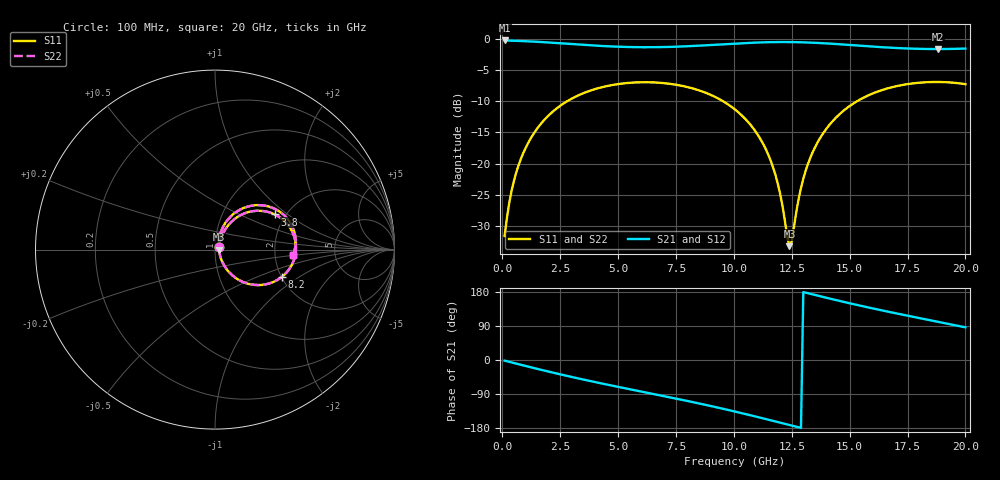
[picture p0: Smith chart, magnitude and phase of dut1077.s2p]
! Touchstone file exported from HFSS 2026.1.0
!  File:  C:/ffzhzh/LocalFiles/Ansys_Project_Files/temp_train_TSV_RDL_1077_1783300202_38704.aedt
!  Generated:  09:20:14 AM Jul  6, 2026
!  Design:  TSV_RDL
!  Project:  temp_train_TSV_RDL_1077_1783300202_38704
! Variables:
!  h_bsmrdl = 4.2um
!  h_ox = 20um
!  h_rdl = 5um
!  h_sub = 62.74um
!  h_tmrdl = 3.46um
!  h_tsv = 62.74um
!  h_via = 3um
!  l_bsmrdl = 349.71um
!  l_sub = 4742.67um
!  l_tmrdl = 792.02um
!  m_sub = 200um
!  pitch = 40.71um
!  r_tsv = 10.96um
!  s_tmrdl = 10um
!  w_bsmrdl = 22.7um
!  w_sub = 500um
!  w_tmrdl = 19.12um
!  x_tsv_center1 = 801.58um
!  x_tsv_center2 = 1173.99um
!  x_tsv_center3 = 1985.13um
!  x_tsv_center4 = 2357.54um
!  x_tsv_center5 = 3168.68um
!  x_tsv_center6 = 3541.09um
# GHz S MA R 50.000000
! Terminal data exported
! Port[1] = TM_RDL1_1_T1
! Port[2] = TM_RDL5_1_T1
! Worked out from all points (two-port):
!   200 points, 100 MHz to 20 GHz, reference 50 ohm
!   highest |S21| = -0.19 dB at 100 MHz (marker M1); lowest = -1.6 dB at 18.8 GHz (marker M2)
!   |S21| within 3 dB of the highest: start of sweep to end of sweep
!   lowest |S11| = -33.3 dB at 12.4 GHz (marker M3), VSWR 1.04, Z = 52.2 - j0.0361 ohm
!   |S11| at or under -10 dB: start of sweep to 2.787 GHz; 9.548 GHz to 15.31 GHz (5.758 GHz wide, 46.3 % of centre)
!   |S22| runs from -33.0 to -6.9 dB; largest |S21 - S12| = 3.6e-14
!   S11 on the Smith chart (normalised r, x): 100 MHz: 1.04, +0.03; 3.8 GHz: 1.76, +0.81; 8.2 GHz: 2.02, -0.73; 20 GHz: 2.52, -0.20
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0.1  0.02615 32.5  0.9782 -1.7  0.9782 -1.7  0.02615 32.5
! Gamma 0 0 0 0
! Port Impedance 50 0 50 0
0.3  0.04827 55.9  0.9755 -4.9  0.9755 -4.9  0.04827 55.9
0.5  0.07238 61.8  0.9727 -8.0  0.9727 -8.0  0.07238 61.8
1.2  0.1563 61.3  0.9609 -18.7  0.9609 -18.7  0.1563 61.3
2.2  0.2637 50.4  0.9368 -33.6  0.9368 -33.6  0.2637 50.4
3.5  0.3683 34.2  0.9013 -51.6  0.9013 -51.6  0.3683 34.2
3.8  0.3864 30.5  0.8939 -55.6  0.8939 -55.6  0.3863 30.5
5.3  0.4429 12.4  0.8677 -74.6  0.8677 -74.6  0.4429 12.4
6.8  0.4467 -5.2  0.8647 -93.1  0.8647 -93.1  0.4467 -5.2
8.2  0.4034 -22.0  0.8825 -110.8  0.8825 -110.8  0.4033 -21.9
10.1  0.2677 -45.6  0.9241 -136.8  0.9241 -136.8  0.2677 -45.5
11  0.1741 -56.0  0.9411 -150.1  0.9411 -150.1  0.1741 -55.8
11.6  0.1044 -60.1  0.948 -159.2  0.948 -159.2  0.1044 -59.7
12  0.05705 -55.8  0.95 -165.3  0.95 -165.3  0.05719 -55.2
12.4  0.02165 -0.9  0.9496 -171.5  0.9496 -171.5  0.02227 -0.4
12.5  0.02368 29.4  0.9491 -173.1  0.9491 -173.1  0.0243 29.0
12.9  0.06374 68.9  0.9458 -179.2  0.9458 -179.2  0.06405 68.4
13.4  0.1229 71.1  0.9386 173.1  0.9386 173.1  0.1231 70.9
14.7  0.2628 58.0  0.9083 154.0  0.9083 154.0  0.2629 57.8
16.7  0.4055 33.7  0.8568 127.0  0.8568 127.0  0.4056 33.7
18.8  0.4534 9.5  0.8342 101.0  0.8342 101.0  0.4535 9.5
20  0.4353 -4.2  0.8421 86.2  0.8421 86.2  0.4353 -4.2
